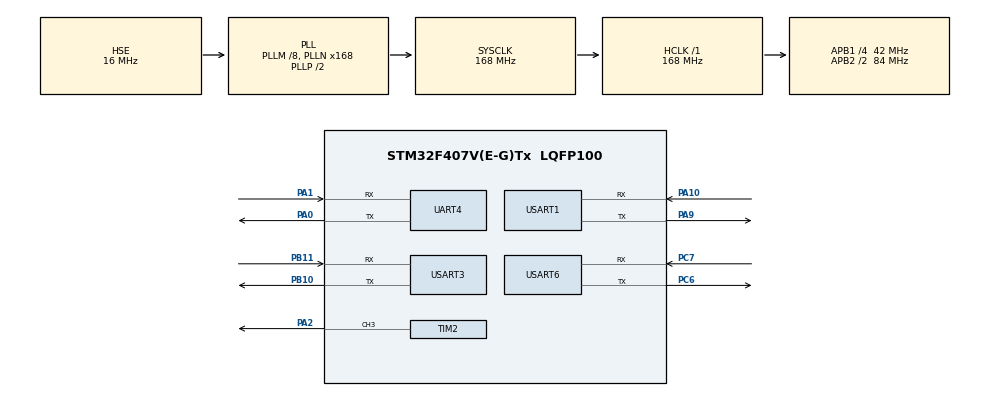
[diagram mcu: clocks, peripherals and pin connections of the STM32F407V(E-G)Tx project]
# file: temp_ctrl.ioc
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Dma.Request0=USART1_RX
Dma.Request1=USART1_TX
Dma.Request2=USART3_RX
Dma.Request3=USART3_TX
Dma.Request4=UART4_RX
Dma.Request5=UART4_TX
Dma.Request6=USART6_RX
Dma.Request7=USART6_TX
Dma.UART4_RX.4.Direction=DMA_PERIPH_TO_MEMORY
Dma.UART4_RX.4.FIFOMode=DMA_FIFOMODE_DISABLE
Dma.UART4_RX.4.Instance=DMA1_Stream2
Dma.UART4_RX.4.MemDataAlignment=DMA_MDATAALIGN_BYTE
Dma.UART4_RX.4.MemInc=DMA_MINC_ENABLE
Dma.UART4_RX.4.Mode=DMA_NORMAL
Dma.UART4_RX.4.PeriphDataAlignment=DMA_PDATAALIGN_BYTE
Dma.UART4_RX.4.PeriphInc=DMA_PINC_DISABLE
Dma.UART4_RX.4.Priority=DMA_PRIORITY_LOW
Dma.UART4_TX.5.Direction=DMA_MEMORY_TO_PERIPH
Dma.UART4_TX.5.FIFOMode=DMA_FIFOMODE_DISABLE
Dma.UART4_TX.5.Instance=DMA1_Stream4
Dma.UART4_TX.5.MemDataAlignment=DMA_MDATAALIGN_BYTE
Dma.UART4_TX.5.MemInc=DMA_MINC_ENABLE
Dma.UART4_TX.5.Mode=DMA_NORMAL
Dma.UART4_TX.5.PeriphDataAlignment=DMA_PDATAALIGN_BYTE
Dma.UART4_TX.5.PeriphInc=DMA_PINC_DISABLE
Dma.UART4_TX.5.Priority=DMA_PRIORITY_LOW
Dma.USART1_RX.0.Direction=DMA_PERIPH_TO_MEMORY
Dma.USART1_RX.0.FIFOMode=DMA_FIFOMODE_DISABLE
Dma.USART1_RX.0.Instance=DMA2_Stream2
Dma.USART1_RX.0.MemDataAlignment=DMA_MDATAALIGN_BYTE
Dma.USART1_RX.0.MemInc=DMA_MINC_ENABLE
Dma.USART1_RX.0.Mode=DMA_NORMAL
Dma.USART1_RX.0.PeriphDataAlignment=DMA_PDATAALIGN_BYTE
Dma.USART1_RX.0.PeriphInc=DMA_PINC_DISABLE
Dma.USART1_RX.0.Priority=DMA_PRIORITY_LOW
Dma.USART1_TX.1.Direction=DMA_MEMORY_TO_PERIPH
Dma.USART1_TX.1.FIFOMode=DMA_FIFOMODE_DISABLE
Dma.USART1_TX.1.Instance=DMA2_Stream7
Dma.USART1_TX.1.MemDataAlignment=DMA_MDATAALIGN_BYTE
Dma.USART1_TX.1.MemInc=DMA_MINC_ENABLE
Dma.USART1_TX.1.Mode=DMA_NORMAL
Dma.USART1_TX.1.PeriphDataAlignment=DMA_PDATAALIGN_BYTE
Dma.USART1_TX.1.PeriphInc=DMA_PINC_DISABLE
Dma.USART1_TX.1.Priority=DMA_PRIORITY_LOW
Dma.USART3_RX.2.Direction=DMA_PERIPH_TO_MEMORY
Dma.USART3_RX.2.FIFOMode=DMA_FIFOMODE_DISABLE
Dma.USART3_RX.2.Instance=DMA1_Stream1
Dma.USART3_RX.2.MemDataAlignment=DMA_MDATAALIGN_BYTE
Dma.USART3_RX.2.MemInc=DMA_MINC_ENABLE
Dma.USART3_RX.2.Mode=DMA_NORMAL
Dma.USART3_RX.2.PeriphDataAlignment=DMA_PDATAALIGN_BYTE
Dma.USART3_RX.2.PeriphInc=DMA_PINC_DISABLE
Dma.USART3_RX.2.Priority=DMA_PRIORITY_LOW
Dma.USART3_TX.3.Direction=DMA_MEMORY_TO_PERIPH
Dma.USART3_TX.3.FIFOMode=DMA_FIFOMODE_DISABLE
Dma.USART3_TX.3.Instance=DMA1_Stream3
Dma.USART3_TX.3.MemDataAlignment=DMA_MDATAALIGN_BYTE
Dma.USART3_TX.3.MemInc=DMA_MINC_ENABLE
Dma.USART3_TX.3.Mode=DMA_NORMAL
Dma.USART3_TX.3.PeriphDataAlignment=DMA_PDATAALIGN_BYTE
Dma.USART3_TX.3.PeriphInc=DMA_PINC_DISABLE
Dma.USART3_TX.3.Priority=DMA_PRIORITY_LOW
Dma.USART6_RX.6.Direction=DMA_PERIPH_TO_MEMORY
Dma.USART6_RX.6.FIFOMode=DMA_FIFOMODE_DISABLE
Dma.USART6_RX.6.Instance=DMA2_Stream1
Dma.USART6_RX.6.MemDataAlignment=DMA_MDATAALIGN_BYTE
Dma.USART6_RX.6.MemInc=DMA_MINC_ENABLE
Dma.USART6_RX.6.Mode=DMA_NORMAL
Dma.USART6_RX.6.PeriphDataAlignment=DMA_PDATAALIGN_BYTE
Dma.USART6_RX.6.PeriphInc=DMA_PINC_DISABLE
Dma.USART6_RX.6.Priority=DMA_PRIORITY_LOW
Dma.USART6_TX.7.Direction=DMA_MEMORY_TO_PERIPH
Dma.USART6_TX.7.FIFOMode=DMA_FIFOMODE_DISABLE
Dma.USART6_TX.7.Instance=DMA2_Stream6
Dma.USART6_TX.7.MemDataAlignment=DMA_MDATAALIGN_BYTE
Dma.USART6_TX.7.MemInc=DMA_MINC_ENABLE
Dma.USART6_TX.7.Mode=DMA_NORMAL
Dma.USART6_TX.7.PeriphDataAlignment=DMA_PDATAALIGN_BYTE
Dma.USART6_TX.7.PeriphInc=DMA_PINC_DISABLE
Dma.USART6_TX.7.Priority=DMA_PRIORITY_LOW
FREERTOS.INCLUDE_uxTaskGetStackHighWaterMark=1
FREERTOS.INCLUDE_vTaskDelayUntil=1
FREERTOS.Tasks01=defaultTask,0,128,StartDefaultTask,Default,NULL,Dynamic,NULL,NULL
FREERTOS.configUSE_TIMERS=1
Mcu.Family=STM32F4
Mcu.Name=STM32F407V(E-G)Tx
Mcu.Package=LQFP100
NVIC.DMA1_Stream1_IRQn=true\:5\:0\:false\:false\:true\:true\:false\:true\:true
NVIC.DMA1_Stream2_IRQn=true\:5\:0\:false\:false\:true\:true\:false\:true\:true
NVIC.DMA1_Stream3_IRQn=true\:5\:0\:false\:false\:true\:true\:false\:true\:true
NVIC.DMA1_Stream4_IRQn=true\:5\:0\:false\:false\:true\:true\:false\:true\:true
NVIC.DMA2_Stream1_IRQn=true\:5\:0\:false\:false\:true\:true\:false\:true\:true
NVIC.DMA2_Stream2_IRQn=true\:5\:0\:false\:false\:true\:true\:false\:true\:true
NVIC.DMA2_Stream6_IRQn=true\:5\:0\:false\:false\:true\:true\:false\:true\:true
NVIC.DMA2_Stream7_IRQn=true\:5\:0\:false\:false\:true\:true\:false\:true\:true
NVIC.PriorityGroup=NVIC_PRIORITYGROUP_4
NVIC.TIM8_TRG_COM_TIM14_IRQn=true\:15\:0\:false\:false\:true\:false\:false\:true\:true
NVIC.TimeBase=TIM8_TRG_COM_TIM14_IRQn
NVIC.TimeBaseIP=TIM14
NVIC.UART4_IRQn=true\:5\:0\:false\:false\:true\:true\:true\:true\:true
NVIC.USART1_IRQn=true\:5\:0\:false\:false\:true\:true\:false\:true\:true
NVIC.USART3_IRQn=true\:5\:0\:false\:false\:true\:true\:false\:true\:true
NVIC.USART6_IRQn=true\:5\:0\:false\:false\:true\:true\:true\:true\:true
PA0-WKUP.Mode=Asynchronous
PA0-WKUP.Signal=UART4_TX
PA1.Mode=Asynchronous
PA1.Signal=UART4_RX
PA10.Mode=Asynchronous
PA10.Signal=USART1_RX
PA13.Mode=Serial_Wire
PA13.Signal=SYS_JTMS-SWDIO
PA14.Mode=Serial_Wire
PA14.Signal=SYS_JTCK-SWCLK
PA2.Signal=S_TIM2_CH3
PA9.Mode=Asynchronous
PA9.Signal=USART1_TX
PB10.Mode=Asynchronous
PB10.Signal=USART3_TX
PB11.Mode=Asynchronous
PB11.Signal=USART3_RX
PC6.Mode=Asynchronous
PC6.Signal=USART6_TX
PC7.Mode=Asynchronous
PC7.Signal=USART6_RX
PH0-OSC_IN.Mode=HSE-External-Oscillator
PH0-OSC_IN.Signal=RCC_OSC_IN
PH1-OSC_OUT.Mode=HSE-External-Oscillator
PH1-OSC_OUT.Signal=RCC_OSC_OUT
ProjectManager.HeapSize=0x200
ProjectManager.StackSize=0x400
ProjectManager.TargetToolchain=MDK-ARM V5.32
RCC.48MHZClocksFreq_Value=84000000
RCC.AHBFreq_Value=168000000
RCC.APB1CLKDivider=RCC_HCLK_DIV4
RCC.APB1Freq_Value=42000000
RCC.APB1TimFreq_Value=84000000
RCC.APB2CLKDivider=RCC_HCLK_DIV2
RCC.APB2Freq_Value=84000000
RCC.APB2TimFreq_Value=168000000
RCC.CortexFreq_Value=168000000
RCC.HCLKFreq_Value=168000000
RCC.HSE_VALUE=16000000
RCC.HSI_VALUE=16000000
RCC.LSE_VALUE=32768
RCC.PLLM=8
RCC.PLLN=168
RCC.PLLSourceVirtual=RCC_PLLSOURCE_HSE
RCC.SYSCLKFreq_VALUE=168000000
RCC.SYSCLKSource=RCC_SYSCLKSOURCE_PLLCLK
RCC.VCOOutputFreq_Value=336000000
SH.S_TIM2_CH3.0=TIM2_CH3,PWM Generation3 CH3
TIM2.Channel-PWM\ Generation3\ CH3=TIM_CHANNEL_3
TIM2.Period=9999
TIM2.Prescaler=41
UART4.VirtualMode=Asynchronous
USART1.VirtualMode=VM_ASYNC
USART3.VirtualMode=VM_ASYNC
USART6.VirtualMode=VM_ASYNC
VP_FREERTOS_VS_CMSIS_V1.Mode=CMSIS_V1
VP_SYS_VS_tim14.Mode=TIM14
VP_TIM2_VS_ClockSourceINT.Mode=Internal
board=custom

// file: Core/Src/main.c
/* USER CODE BEGIN Header */
/**
  ******************************************************************************
  * @file           : main.c
  * @brief          : Main program body
  ******************************************************************************
  * @attention
  *
  * Copyright (c) 2025 STMicroelectronics.
  * All rights reserved.
  *
  * This software is licensed under terms that can be found in the LICENSE file
  * in the root directory of this software component.
  * If no LICENSE file comes with this software, it is provided AS-IS.
  *
  ******************************************************************************
  */
/* USER CODE END Header */
#include "main.h"
#include "cmsis_os.h"
#include "dma.h"
#include "tim.h"
#include "usart.h"
#include "gpio.h"

/* USER CODE BEGIN Includes */
#include "bsp_usart.h"
/* USER CODE END Includes */

void SystemClock_Config(void);
void MX_FREERTOS_Init(void);

/* USER CODE BEGIN 0 */
uint8_t test_buf[14];
uint8_t arxbuf;
/* USER CODE END 0 */

int main(void)
{

  /* MCU Configuration--------------------------------------------------------*/

  /* Reset of all peripherals, Initializes the Flash interface and the Systick. */
  HAL_Init();

  /* Configure the system clock */
  SystemClock_Config();

  /* Initialize all configured peripherals */
  MX_GPIO_Init();
  MX_DMA_Init();
  MX_USART1_UART_Init();
  MX_USART3_UART_Init();
  MX_UART4_Init();
  MX_USART6_UART_Init();
  MX_TIM2_Init();
  /* USER CODE BEGIN 2 */
//    HAL_UART_Receive_IT(&huart3, &arxbuf, 1);
	HAL_TIM_PWM_Start(&htim2, TIM_CHANNEL_3);
	USER_UART_Init();
  /* USER CODE END 2 */

  /* Call init function for freertos objects (in cmsis_os2.c) */
  MX_FREERTOS_Init();

  /* Start scheduler */
  osKernelStart();

  /* We should never get here as control is now taken by the scheduler */

  /* Infinite loop */
  while (1)
  {

  }
}

void SystemClock_Config(void)
{
  RCC_OscInitTypeDef RCC_OscInitStruct = {0};
  RCC_ClkInitTypeDef RCC_ClkInitStruct = {0};

  /** Configure the main internal regulator output voltage
  */
  __HAL_RCC_PWR_CLK_ENABLE();
  __HAL_PWR_VOLTAGESCALING_CONFIG(PWR_REGULATOR_VOLTAGE_SCALE1);

  /** Initializes the RCC Oscillators according to the specified parameters
  * in the RCC_OscInitTypeDef structure.
  */
  RCC_OscInitStruct.OscillatorType = RCC_OSCILLATORTYPE_HSE;
  RCC_OscInitStruct.HSEState = RCC_HSE_ON;
  RCC_OscInitStruct.PLL.PLLState = RCC_PLL_ON;
  RCC_OscInitStruct.PLL.PLLSource = RCC_PLLSOURCE_HSE;
  RCC_OscInitStruct.PLL.PLLM = 8;
  RCC_OscInitStruct.PLL.PLLN = 168;
  RCC_OscInitStruct.PLL.PLLP = RCC_PLLP_DIV2;
  RCC_OscInitStruct.PLL.PLLQ = 4;
  if (HAL_RCC_OscConfig(&RCC_OscInitStruct) != HAL_OK)
  {
    Error_Handler();
  }

  /** Initializes the CPU, AHB and APB buses clocks
  */
  RCC_ClkInitStruct.ClockType = RCC_CLOCKTYPE_HCLK|RCC_CLOCKTYPE_SYSCLK
                              |RCC_CLOCKTYPE_PCLK1|RCC_CLOCKTYPE_PCLK2;
  RCC_ClkInitStruct.SYSCLKSource = RCC_SYSCLKSOURCE_PLLCLK;
  RCC_ClkInitStruct.AHBCLKDivider = RCC_SYSCLK_DIV1;
  RCC_ClkInitStruct.APB1CLKDivider = RCC_HCLK_DIV4;
  RCC_ClkInitStruct.APB2CLKDivider = RCC_HCLK_DIV2;

  if (HAL_RCC_ClockConfig(&RCC_ClkInitStruct, FLASH_LATENCY_5) != HAL_OK)
  {
    Error_Handler();
  }
}

/* USER CODE BEGIN 4 */
uint16_t rx_cnt;

void HAL_UART_RxCpltCallback(UART_HandleTypeDef *huart)
{
	if(huart->Instance == USART3)
	{
		if(arxbuf == 'T')
			rx_cnt = 0;
		if(rx_cnt < 12)
		{
			test_buf[rx_cnt++] = arxbuf;
		}

		HAL_UART_Receive_IT(&huart3, &arxbuf, 1);
	}

}
void HAL_UARTEx_RxEventCallback(UART_HandleTypeDef *huart, uint16_t Size)
{
	if(huart->Instance == USART3)
	{

		HAL_UARTEx_ReceiveToIdle_DMA(huart, test_buf, 23);
	}

	if(huart->Instance == USART6)
	{

		HAL_UARTEx_ReceiveToIdle_DMA(huart, test_buf, 23);
	}
}
/* USER CODE END 4 */

void HAL_TIM_PeriodElapsedCallback(TIM_HandleTypeDef *htim)
{
  if (htim->Instance == TIM14)
  {
    HAL_IncTick();
  }
}

void Error_Handler(void)
{
  __disable_irq();
  while (1)
  {
  }
}

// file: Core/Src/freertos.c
/* USER CODE BEGIN Header */
/**
  ******************************************************************************
  * File Name          : freertos.c
  * Description        : Code for freertos applications
  ******************************************************************************
  * @attention
  *
  * Copyright (c) 2025 STMicroelectronics.
  * All rights reserved.
  *
  * This software is licensed under terms that can be found in the LICENSE file
  * in the root directory of this software component.
  * If no LICENSE file comes with this software, it is provided AS-IS.
  *
  ******************************************************************************
  */
/* USER CODE END Header */

#include "FreeRTOS.h"
#include "task.h"
#include "main.h"
#include "cmsis_os.h"

/* USER CODE BEGIN Includes */
#include "temp.h"

#include "debug_task.h"

/* USER CODE END Includes */

osThreadId defaultTaskHandle;

/* USER CODE BEGIN FunctionPrototypes */
osThreadId debugTaskHandle;
osThreadId tempTaskHandle;

/* USER CODE END FunctionPrototypes */

void StartDefaultTask(void const * argument);

void MX_FREERTOS_Init(void); /* (MISRA C 2004 rule 8.1) */

/* GetIdleTaskMemory prototype (linked to static allocation support) */
void vApplicationGetIdleTaskMemory( StaticTask_t **ppxIdleTaskTCBBuffer, StackType_t **ppxIdleTaskStackBuffer, uint32_t *pulIdleTaskStackSize );

/* GetTimerTaskMemory prototype (linked to static allocation support) */
void vApplicationGetTimerTaskMemory( StaticTask_t **ppxTimerTaskTCBBuffer, StackType_t **ppxTimerTaskStackBuffer, uint32_t *pulTimerTaskStackSize );

/* USER CODE BEGIN GET_IDLE_TASK_MEMORY */
static StaticTask_t xIdleTaskTCBBuffer;
static StackType_t xIdleStack[configMINIMAL_STACK_SIZE];

void vApplicationGetIdleTaskMemory( StaticTask_t **ppxIdleTaskTCBBuffer, StackType_t **ppxIdleTaskStackBuffer, uint32_t *pulIdleTaskStackSize )
{
  *ppxIdleTaskTCBBuffer = &xIdleTaskTCBBuffer;
  *ppxIdleTaskStackBuffer = &xIdleStack[0];
  *pulIdleTaskStackSize = configMINIMAL_STACK_SIZE;
  /* place for user code */
}
/* USER CODE END GET_IDLE_TASK_MEMORY */

/* USER CODE BEGIN GET_TIMER_TASK_MEMORY */
static StaticTask_t xTimerTaskTCBBuffer;
static StackType_t xTimerStack[configTIMER_TASK_STACK_DEPTH];

void vApplicationGetTimerTaskMemory( StaticTask_t **ppxTimerTaskTCBBuffer, StackType_t **ppxTimerTaskStackBuffer, uint32_t *pulTimerTaskStackSize )
{
  *ppxTimerTaskTCBBuffer = &xTimerTaskTCBBuffer;
  *ppxTimerTaskStackBuffer = &xTimerStack[0];
  *pulTimerTaskStackSize = configTIMER_TASK_STACK_DEPTH;
  /* place for user code */
}
/* USER CODE END GET_TIMER_TASK_MEMORY */

void MX_FREERTOS_Init(void) {

  /* Create the thread(s) */
  /* definition and creation of defaultTask */
  osThreadDef(defaultTask, StartDefaultTask, osPriorityNormal, 0, 128);
  defaultTaskHandle = osThreadCreate(osThread(defaultTask), NULL);

  /* USER CODE BEGIN RTOS_THREADS */
  /* add threads, ... */
	osThreadDef(tempTask, Temp_Task, osPriorityNormal, 0, 128);
	tempTaskHandle = osThreadCreate(osThread(tempTask), NULL);

	osThreadDef(debugTask, Debug_Task, osPriorityBelowNormal, 0, 528);
	debugTaskHandle = osThreadCreate(osThread(debugTask), NULL);

  /* USER CODE END RTOS_THREADS */

}

void StartDefaultTask(void const * argument)
{
  for(;;)
  {
    osDelay(1);
  }
}
